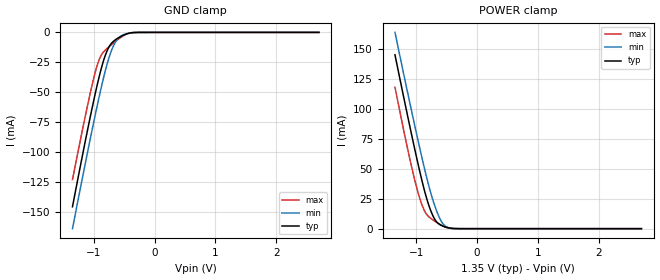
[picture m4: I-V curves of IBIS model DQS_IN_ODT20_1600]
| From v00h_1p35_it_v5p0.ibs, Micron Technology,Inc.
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| MODEL DQS_IN_ODT20_1600 (Data Strobe Input with 20ohm ODT, 1333/1600/1866Mbps)
[Model]   DQS_IN_ODT20_1600
Model_type   Input
Vinl = 540.000mV
Vinh = 810.000mV
|   typ   min   max
|C_comp   0.955pF   0.842pF   1.103pF
C_comp_power_clamp   0.4775pF   0.4210pF   0.5515pF
C_comp_gnd_clamp   0.4775pF   0.4210pF   0.5515pF
| Note: C_comp changes when the ODT circuit is enabled.
[Model Spec]
| Input threshold voltage corners
Vinl   0.5400V   0.5065V   0.5775V
Vinh   0.8100V   0.7765V   0.8475V
| Dynamic Overshoot Parameters from DDR3L Specification
D_overshoot_ampl_h   0.40   NA   NA
D_overshoot_ampl_l   0.40   NA   NA
D_overshoot_area_h   0.13n   NA   NA
D_overshoot_area_l   0.13n   NA   NA
[Receiver Thresholds]
|Vth   =  0.675V
|Vth_min  =  0.6615V
|Vth_max  =  0.6885V
|Vinh_ac  =  0.135V
|Vinh_dc  =  0.090V
|Vinl_ac  = -0.135V
|Vinl_dc  = -0.090V
|Tslew_ac =  5.000ns |Not specified, so set to high value
|Threshold_sensitivity = 0.50
|Reference_supply Power_clamp_ref
Vcross_low   = 0.540V
Vcross_high  = 0.810V
Vdiff_ac   = 270mV
Vdiff_dc   = 180mV
Tdiffslew_ac = 10.000ns |Not specified, so set to high value
[Voltage Range]   1.3500V   1.2830V   1.4250V
[POWER Clamp Reference]   1.3500V   1.2830V   1.4250V
| Junction Temperature (Ambient temp is 35C typ, 95C min, -40C max)
[Temperature Range]   50.0   110.0   -40.0
[Add Submodel]
| Submodel Name   Mode
20ohm_ODT_1600   Non-Driving
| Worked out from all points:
|   GND clamp passes 1 mA (typ) near -0.44 V on its own axis
|   POWER clamp passes 1 mA (typ) near -0.50 V on its own axis
[GND Clamp]
|   Voltage   I(typ)   I(min)   I(max)
-1.35V    -145.9mA   -164.2mA   -123.2mA
-1.085V   -77.39mA   -95.94mA   -57.13mA
-995mV    -55.65mA   -73.68mA   -37.08mA
-930mV    -41.04mA   -58.18mA   -25.36mA
-890mV    -32.79mA   -49mA      -20.33mA
-845mV    -24.55mA   -39.15mA   -16.71mA
-770mV    -14.21mA   -24.56mA   -12.93mA
-670mV    -7.162mA   -10.58mA   -8.571mA
-575mV    -3.962mA   -3.912mA   -4.851mA
-460mV    -1.301mA   -1.033mA   -1.415mA
-340mV    -133.3uA   -121.1uA   -79.23uA
2.7V      0A         0A         0A
[POWER Clamp]
|   Voltage   I(typ)   I(min)   I(max)
-1.35V    145mA      163.7mA    118mA
-1.2V     108mA      127.3mA    80.42mA
-1.07V    76.81mA    96.43mA    50.07mA
-985mV    57.15mA    76.71mA    32.7mA
-915mV    41.82mA    60.95mA    21.03mA
-830mV    25.33mA    42.85mA    11.96mA
-725mV    10.61mA    23.55mA    7.276mA
-675mV    6.297mA    16.06mA    5.562mA
-615mV    3.475mA    8.695mA    3.687mA
-525mV    1.394mA    2.274mA    1.436mA
-300mV    17.28uA    25.96uA    3.42uA
2.7V      0A         0A         0A
